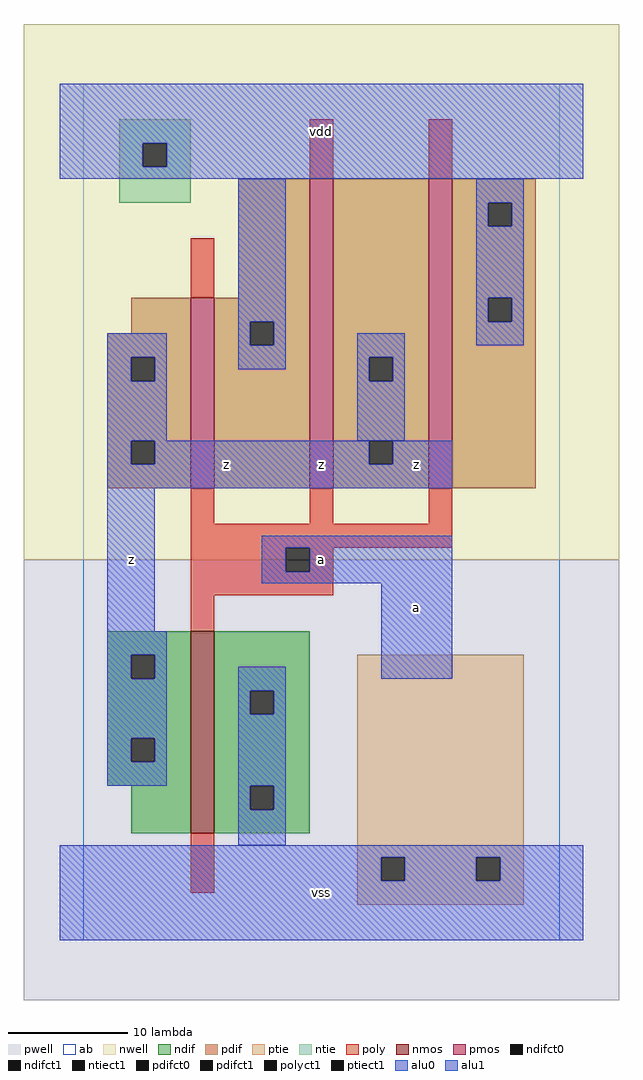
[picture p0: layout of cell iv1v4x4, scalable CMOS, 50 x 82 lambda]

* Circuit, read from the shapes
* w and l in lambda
.subckt iv1v4x4 a vdd vss z
M1 vss a z vss nfet w=17 l=2
M2 vdd a z vdd pfet w=16 l=2
M3 z a vdd vdd pfet w=26 l=2 m=2
.ends

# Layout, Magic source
magic
tech scmos
<< ab >>
rect 0 0 40 72
<< nwell >>
rect -5 32 45 77
<< pwell >>
rect -5 -5 45 32
<< poly >>
rect 19 64 21 69
rect 29 64 31 69
rect 9 54 11 59
rect 9 35 11 38
rect 19 35 21 38
rect 29 35 31 38
rect 9 33 31 35
rect 9 31 17 33
rect 19 31 21 33
rect 9 29 21 31
rect 9 26 11 29
rect 9 4 11 9
<< ndif >>
rect 2 24 9 26
rect 2 22 4 24
rect 6 22 9 24
rect 2 17 9 22
rect 2 15 4 17
rect 6 15 9 17
rect 2 13 9 15
rect 4 9 9 13
rect 11 21 19 26
rect 11 19 14 21
rect 16 19 19 21
rect 11 13 19 19
rect 11 11 14 13
rect 16 11 19 13
rect 11 9 19 11
<< pdif >>
rect 13 54 19 64
rect 4 51 9 54
rect 2 49 9 51
rect 2 47 4 49
rect 6 47 9 49
rect 2 42 9 47
rect 2 40 4 42
rect 6 40 9 42
rect 2 38 9 40
rect 11 52 19 54
rect 11 50 14 52
rect 16 50 19 52
rect 11 38 19 50
rect 21 49 29 64
rect 21 47 24 49
rect 26 47 29 49
rect 21 42 29 47
rect 21 40 24 42
rect 26 40 29 42
rect 21 38 29 40
rect 31 62 38 64
rect 31 60 34 62
rect 36 60 38 62
rect 31 54 38 60
rect 31 52 34 54
rect 36 52 38 54
rect 31 38 38 52
<< alu1 >>
rect -2 67 42 72
rect -2 65 5 67
rect 7 65 42 67
rect -2 64 42 65
rect 2 49 7 51
rect 2 47 4 49
rect 6 47 7 49
rect 2 42 7 47
rect 2 40 4 42
rect 6 40 24 42
rect 26 40 31 42
rect 2 38 31 40
rect 2 26 6 38
rect 15 33 31 34
rect 15 31 17 33
rect 19 31 31 33
rect 15 30 31 31
rect 2 24 7 26
rect 2 22 4 24
rect 6 22 7 24
rect 2 17 7 22
rect 2 15 4 17
rect 6 15 7 17
rect 2 13 7 15
rect 25 22 31 30
rect -2 7 42 8
rect -2 5 25 7
rect 27 5 33 7
rect 35 5 42 7
rect -2 0 42 5
<< ptie >>
rect 23 7 37 24
rect 23 5 25 7
rect 27 5 33 7
rect 35 5 37 7
rect 23 3 37 5
<< ntie >>
rect 3 67 9 69
rect 3 65 5 67
rect 7 65 9 67
rect 3 62 9 65
<< nmos >>
rect 9 9 11 26
<< pmos >>
rect 9 38 11 54
rect 19 38 21 64
rect 29 38 31 64
<< polyct1 >>
rect 17 31 19 33
<< ndifct0 >>
rect 14 19 16 21
rect 14 11 16 13
<< ndifct1 >>
rect 4 22 6 24
rect 4 15 6 17
<< ntiect1 >>
rect 5 65 7 67
<< ptiect1 >>
rect 25 5 27 7
rect 33 5 35 7
<< pdifct0 >>
rect 14 50 16 52
rect 24 47 26 49
rect 34 60 36 62
rect 34 52 36 54
<< pdifct1 >>
rect 4 47 6 49
rect 4 40 6 42
rect 24 40 26 42
<< alu0 >>
rect 13 52 17 64
rect 13 50 14 52
rect 16 50 17 52
rect 33 62 37 64
rect 33 60 34 62
rect 36 60 37 62
rect 33 54 37 60
rect 33 52 34 54
rect 36 52 37 54
rect 13 48 17 50
rect 23 49 27 51
rect 33 50 37 52
rect 23 47 24 49
rect 26 47 27 49
rect 23 42 27 47
rect 13 21 17 23
rect 13 19 14 21
rect 16 19 17 21
rect 13 13 17 19
rect 13 11 14 13
rect 16 11 17 13
rect 13 8 17 11
<< labels >>
rlabel alu1 4 32 4 32 6 z
rlabel alu1 12 40 12 40 6 z
rlabel alu1 20 4 20 4 6 vss
rlabel alu1 20 32 20 32 6 a
rlabel alu1 28 28 28 28 6 a
rlabel alu1 28 40 28 40 6 z
rlabel alu1 20 40 20 40 6 z
rlabel alu1 20 68 20 68 6 vdd
<< end >>
